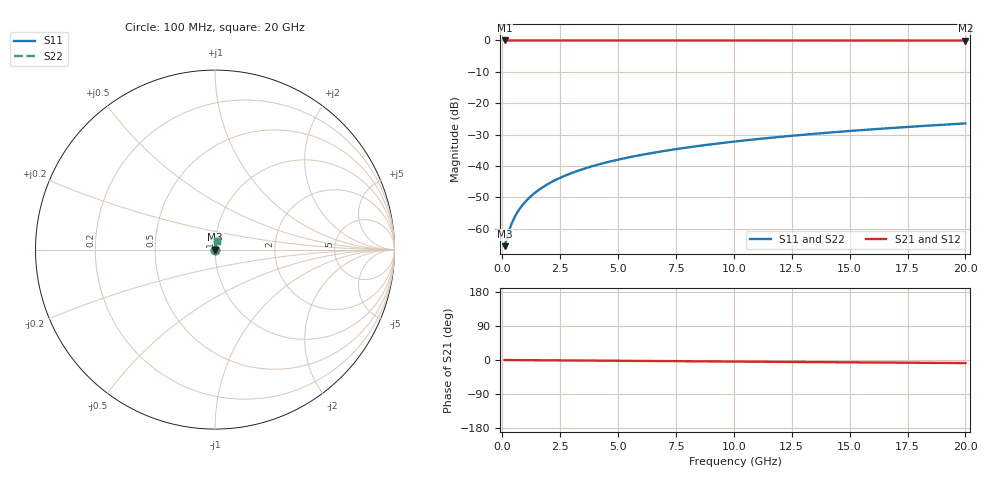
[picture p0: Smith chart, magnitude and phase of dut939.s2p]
! Touchstone file exported from HFSS 2026.1.0
!  File:  C:/ffzhzh/LocalFiles/Ansys_Project_Files/temp_train_TSV_939_1783187021_43440.aedt
!  Generated:  01:45:49 AM Jul  5, 2026
!  Design:  TSV
!  Project:  temp_train_TSV_939_1783187021_43440
! Variables:
!  h_bsmrdl = 2um
!  h_ox = 20um
!  h_rdl = 5um
!  h_sub = 78.45um
!  h_tmrdl = 5um
!  h_tsv = 78.45um
!  h_via = 3um
!  l_bsmrdl = 300um
!  l_sub = 409.28um
!  l_tmrdl = 200um
!  m_sub = 200um
!  pitch = 30.89um
!  r_tsv = 4.64um
!  s_tmrdl = 10um
!  w_bsmrdl = 18um
!  w_sub = 500um
!  w_tmrdl = 12um
!  x_tsv_center1 = 206um
!  x_tsv_center2 = 524um
!  x_tsv_center3 = 736um
!  x_tsv_center4 = 1054um
!  x_tsv_center5 = 1266um
!  x_tsv_center6 = 1584um
# GHz S MA R 50.000000
! Terminal data exported
! Port[1] = TSV1_1_T1
! Port[2] = TSV1_1_T2
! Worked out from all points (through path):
!   200 points, 100 MHz to 20 GHz, reference 50 ohm
!   highest |S21| = 0.00 dB at 100 MHz (marker M1); lowest = 0.0 dB at 20 GHz (marker M2)
!   group delay of S21, straight-line fit = 1.13 ps
!   lowest |S11| = -65.5 dB at 100 MHz (marker M3), VSWR 1.00, Z = 50 + j0.0283 ohm
!   |S11| at or under -10 dB: start of sweep to end of sweep
!   |S22| runs from -65.5 to -26.4 dB; largest |S21 - S12| = 7.2e-15
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0.1  0.000531 32.2  0.9996 -0.0  0.9996 -0.0  0.000531 32.2
! Gamma 0 0 0 0
! Port Impedance 50 0 50 0
0.2  0.000727 50.5  0.9995 -0.1  0.9995 -0.1  0.000727 50.5
0.3  0.0009616 60.1  0.9995 -0.1  0.9995 -0.1  0.0009616 60.1
0.4  0.001208 65.7  0.9995 -0.2  0.9995 -0.2  0.001208 65.7
0.5  0.001457 69.3  0.9995 -0.2  0.9995 -0.2  0.001457 69.3
0.6  0.001708 71.8  0.9995 -0.3  0.9995 -0.3  0.001708 71.8
0.8  0.002211 75.2  0.9994 -0.3  0.9994 -0.3  0.002211 75.2
1.1  0.002969 78.1  0.9994 -0.5  0.9994 -0.5  0.002969 78.1
1.3  0.003476 79.4  0.9994 -0.5  0.9994 -0.5  0.003476 79.4
1.6  0.004238 80.6  0.9993 -0.7  0.9993 -0.7  0.004238 80.6
2.1  0.005504 81.7  0.9993 -0.9  0.9993 -0.9  0.005504 81.7
2.7  0.007012 82.4  0.9992 -1.1  0.9992 -1.1  0.007012 82.4
3.5  0.008998 82.8  0.9991 -1.5  0.9991 -1.5  0.008998 82.8
4.2  0.01071 82.9  0.9989 -1.7  0.9989 -1.7  0.01071 82.9
5  0.01265 82.8  0.9988 -2.1  0.9988 -2.1  0.01265 82.8
5.9  0.01481 82.8  0.9987 -2.4  0.9987 -2.4  0.01481 82.8
6.8  0.01695 82.7  0.9985 -2.8  0.9985 -2.8  0.01695 82.7
8.3  0.0205 82.4  0.9983 -3.4  0.9983 -3.4  0.0205 82.4
10.1  0.02474 82.1  0.9981 -4.1  0.9981 -4.1  0.02474 82.1
13.4  0.03247 81.2  0.9976 -5.5  0.9976 -5.5  0.03247 81.2
16.7  0.04014 80.2  0.9971 -6.8  0.9971 -6.8  0.04014 80.2
20  0.04776 79.1  0.9966 -8.1  0.9966 -8.1  0.04776 79.1
